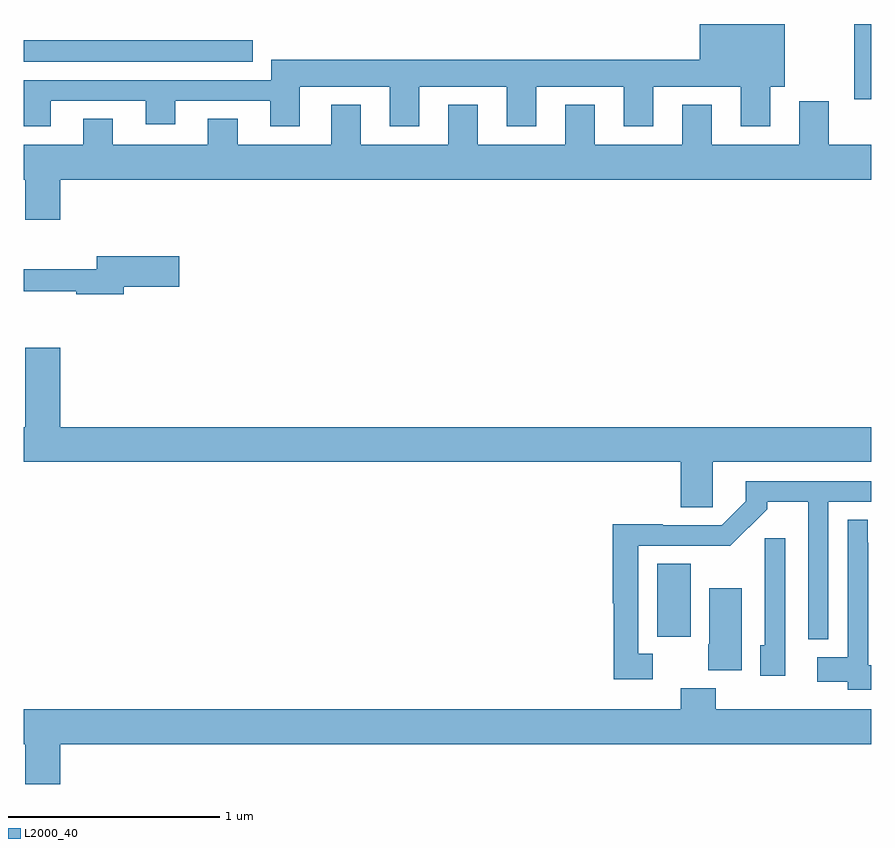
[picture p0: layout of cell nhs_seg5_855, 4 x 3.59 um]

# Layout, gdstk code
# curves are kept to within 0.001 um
import gdstk
lib = gdstk.Library(unit=1e-6, precision=1e-09)
def R(c, l, rs):  # rectangles x0, y0, x1, y1
    for r in rs: c.add(gdstk.rectangle(r[:2], r[2:], *l))
def P(c, l, *ps):  # polygons
    for p in ps: c.add(gdstk.Polygon(p, *l))
L2000_40 = (2000, 40)

nhs_seg5_855 = lib.new_cell('nhs_seg5_855')
R(nhs_seg5_855, L2000_40, [(167.99,883.908,168.148,884.252), (168.919,886.445,169,886.799), (165,886.622,166.081,886.723)])
P(nhs_seg5_855, L2000_40, [(165.127,886.437),(165.575,886.437),(165.575,886.325),(165.715,886.325),(165.715,886.437),(166.163,886.437),(166.163,886.317),(166.303,886.317),(166.303,886.502),(166.727,886.502),(166.727,886.317),(166.867,886.317),(166.867,886.502),(167.279,886.502),(167.279,886.317),(167.419,886.317),(167.419,886.502),(167.831,886.502),(167.831,886.317),(167.971,886.317),(167.971,886.502),(168.383,886.502),(168.383,886.317),(168.523,886.317),(168.523,886.502),(168.592,886.502),(168.592,886.799),(168.191,886.799),(168.191,886.63),(166.169,886.63),(166.169,886.533),(165,886.533),(165,886.317),(165.127,886.317)],
  [(165.172,886.064),(169,886.064),(169,886.228),(168.799,886.228),(168.799,886.435),(168.659,886.435),(168.659,886.228),(168.247,886.228),(168.247,886.417),(168.107,886.417),(168.107,886.228),(167.695,886.228),(167.695,886.417),(167.555,886.417),(167.555,886.228),(167.143,886.228),(167.143,886.417),(167.003,886.417),(167.003,886.228),(166.591,886.228),(166.591,886.417),(166.451,886.417),(166.451,886.228),(166.009,886.228),(166.009,886.352),(165.869,886.352),(165.869,886.228),(165.421,886.228),(165.421,886.352),(165.281,886.352),(165.281,886.228),(165,886.228),(165,886.064),(165.008,886.064),(165.008,885.876),(165.172,885.876)],
  [(165.472,885.56),(165.733,885.56),(165.733,885.702),(165.344,885.702),(165.344,885.642),(165,885.642),(165,885.538),(165.248,885.538),(165.248,885.523),(165.472,885.523)],
  [(168.252,884.732),(169,884.732),(169,884.896),(165.172,884.896),(165.172,885.271),(165.008,885.271),(165.008,884.896),(165,884.896),(165,884.732),(168.101,884.732),(168.101,884.518),(168.252,884.518)],
  [(167.968,883.827),(167.901,883.827),(167.901,884.337),(168.334,884.336),(168.508,884.509),(168.508,884.543),(168.702,884.543),(168.702,883.895),(168.798,883.895),(168.798,884.544),(169,884.544),(169,884.64),(168.408,884.64),(168.408,884.547),(168.294,884.433),(168.017,884.433),(168.017,884.438),(167.781,884.438),(167.781,884.064),(167.785,884.064),(167.785,883.707),(167.968,883.707)],
  [(169,883.772),(168.985,883.772),(168.985,884.351),(168.984,884.351),(168.984,884.459),(168.888,884.459),(168.888,883.81),(168.744,883.81),(168.744,883.694),(168.888,883.694),(168.888,883.656),(169,883.656)],
  [(168.594,884.371),(168.498,884.371),(168.498,883.866),(168.476,883.866),(168.476,883.722),(168.594,883.722)],
  [(168.388,884.137),(168.236,884.137),(168.236,883.872),(168.23,883.872),(168.23,883.748),(168.388,883.748)],
  [(165.172,883.4),(169,883.4),(169,883.564),(168.266,883.564),(168.266,883.663),(168.101,883.663),(168.101,883.564),(165,883.564),(165,883.4),(165.008,883.4),(165.008,883.212),(165.172,883.212)])

lib.write_gds('nhs_seg5_855.gds')
